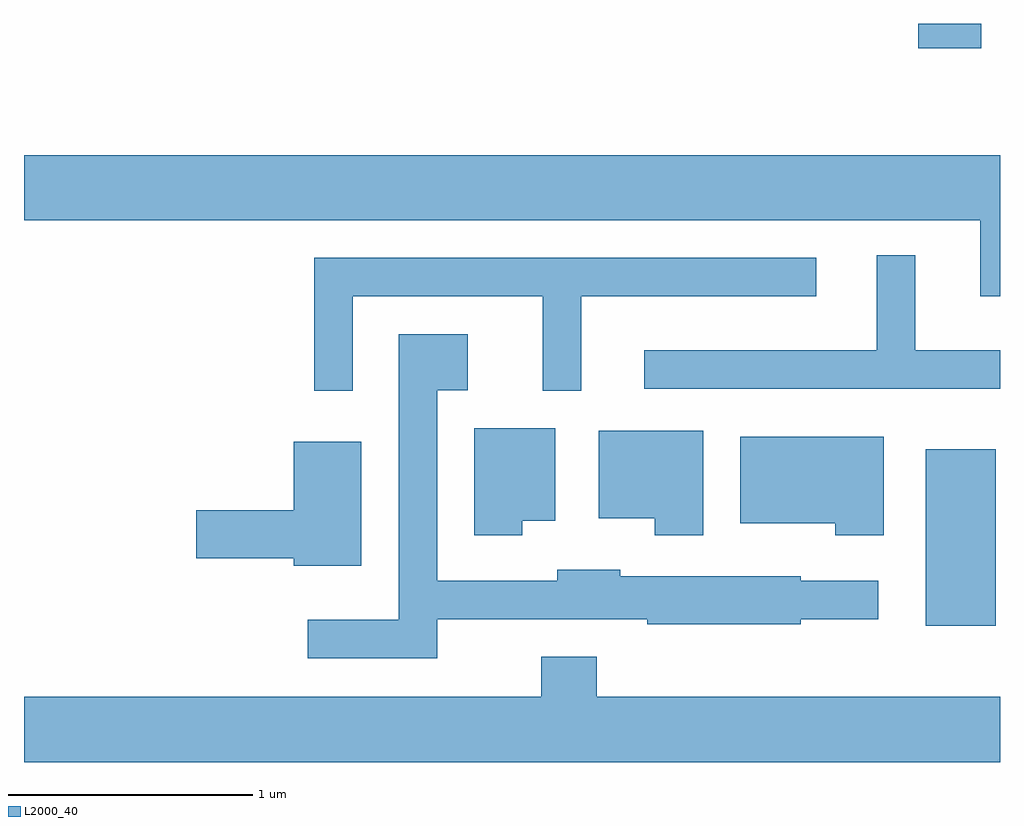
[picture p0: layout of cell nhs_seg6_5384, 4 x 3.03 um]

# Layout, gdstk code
import gdstk
lib = gdstk.Library(unit=1e-6, precision=1e-09)
def R(c, l, rs):  # rectangles x0, y0, x1, y1
    for r in rs: c.add(gdstk.rectangle(r[:2], r[2:], *l))
def P(c, l, *ps):  # polygons
    for p in ps: c.add(gdstk.Polygon(p, *l))
L2000_40 = (2000, 40)

nhs_seg6_5384 = lib.new_cell('nhs_seg6_5384')
R(nhs_seg6_5384, L2000_40, [(353.306,1561.696,353.594,1562.419), (353.276,1564.061,353.534,1564.162)])
P(nhs_seg6_5384, L2000_40, [(353.611,1563.624),(349.611,1563.624),(349.611,1563.356),(353.531,1563.356),(353.531,1563.046),(353.611,1563.046)],
  [(353.611,1562.824),(353.264,1562.824),(353.264,1563.213),(353.106,1563.213),(353.106,1562.824),(352.153,1562.824),(352.153,1562.666),(353.611,1562.666)],
  [(350.959,1563.046),(351.736,1563.046),(351.736,1562.658),(351.894,1562.658),(351.894,1563.046),(352.858,1563.046),(352.858,1563.204),(350.801,1563.204),(350.801,1562.658),(350.959,1562.658)],
  [(351.304,1561.721),(352.166,1561.721),(352.166,1561.701),(352.794,1561.701),(352.794,1561.721),(353.113,1561.721),(353.113,1561.879),(352.794,1561.879),(352.794,1561.899),(352.054,1561.899),(352.054,1561.924),(351.796,1561.924),(351.796,1561.879),(351.304,1561.879),(351.304,1562.661),(351.429,1562.661),(351.429,1562.889),(351.146,1562.889),(351.146,1561.719),(350.773,1561.719),(350.773,1561.561),(351.304,1561.561)],
  [(351.654,1562.126),(351.789,1562.126),(351.789,1562.504),(351.456,1562.504),(351.456,1562.066),(351.654,1562.066)],
  [(352.394,1562.494),(351.966,1562.494),(351.966,1562.136),(352.196,1562.136),(352.196,1562.066),(352.394,1562.066)],
  [(353.134,1562.469),(352.546,1562.469),(352.546,1562.116),(352.936,1562.116),(352.936,1562.066),(353.134,1562.066)],
  [(350.994,1562.449),(350.716,1562.449),(350.716,1562.169),(350.316,1562.169),(350.316,1561.971),(350.716,1561.971),(350.716,1561.941),(350.994,1561.941)],
  [(353.611,1561.404),(351.959,1561.404),(351.959,1561.569),(351.731,1561.569),(351.731,1561.404),(349.611,1561.404),(349.611,1561.136),(353.611,1561.136)])

lib.write_gds('nhs_seg6_5384.gds')
